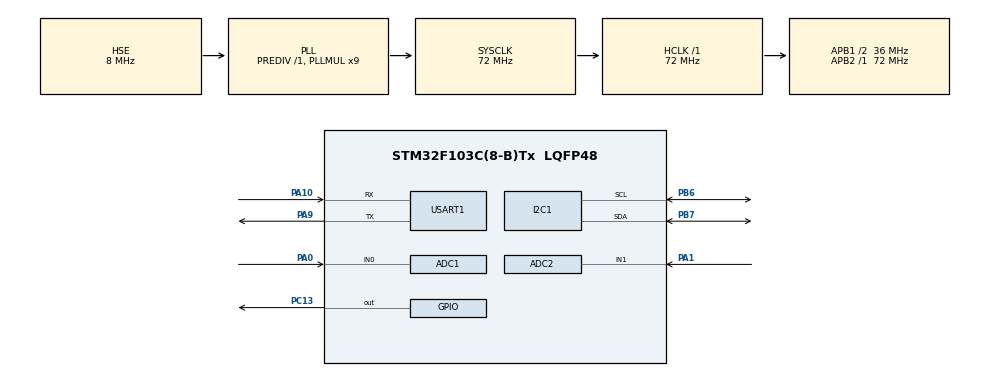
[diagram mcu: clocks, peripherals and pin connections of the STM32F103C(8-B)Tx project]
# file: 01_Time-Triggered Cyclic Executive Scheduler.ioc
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ADC1.Channel-0\#ChannelRegularConversion=ADC_CHANNEL_0
ADC1.NbrOfConversionFlag=1
ADC1.Rank-0\#ChannelRegularConversion=1
ADC1.SamplingTime-0\#ChannelRegularConversion=ADC_SAMPLETIME_1CYCLE_5
ADC1.master=1
ADC2.Channel-1\#ChannelRegularConversion=ADC_CHANNEL_1
ADC2.NbrOfConversionFlag=1
ADC2.Rank-1\#ChannelRegularConversion=1
ADC2.SamplingTime-1\#ChannelRegularConversion=ADC_SAMPLETIME_1CYCLE_5
Mcu.Family=STM32F1
Mcu.Name=STM32F103C(8-B)Tx
Mcu.Package=LQFP48
NVIC.PriorityGroup=NVIC_PRIORITYGROUP_4
NVIC.TIM1_UP_IRQn=true\:0\:0\:false\:false\:true\:true\:true\:true
NVIC.USART1_IRQn=true\:0\:0\:false\:false\:true\:true\:true\:true
PA0-WKUP.Signal=ADCx_IN0
PA1.Signal=ADCx_IN1
PA10.Mode=Asynchronous
PA10.Signal=USART1_RX
PA13.Mode=Serial_Wire
PA13.Signal=SYS_JTMS-SWDIO
PA14.Mode=Serial_Wire
PA14.Signal=SYS_JTCK-SWCLK
PA9.Mode=Asynchronous
PA9.Signal=USART1_TX
PB6.Mode=I2C
PB6.Signal=I2C1_SCL
PB7.Mode=I2C
PB7.Signal=I2C1_SDA
PC13-TAMPER-RTC.Signal=GPIO_Output
PD0-OSC_IN.Mode=HSE-External-Oscillator
PD0-OSC_IN.Signal=RCC_OSC_IN
PD1-OSC_OUT.Mode=HSE-External-Oscillator
PD1-OSC_OUT.Signal=RCC_OSC_OUT
ProjectManager.HeapSize=0x200
ProjectManager.StackSize=0x400
ProjectManager.TargetToolchain=STM32CubeIDE
RCC.ADCPresc=RCC_ADCPCLK2_DIV6
RCC.AHBFreq_Value=72000000
RCC.APB1CLKDivider=RCC_HCLK_DIV2
RCC.APB1Freq_Value=36000000
RCC.APB1TimFreq_Value=72000000
RCC.APB2Freq_Value=72000000
RCC.APB2TimFreq_Value=72000000
RCC.HCLKFreq_Value=72000000
RCC.PLLMUL=RCC_PLL_MUL9
RCC.PLLSourceVirtual=RCC_PLLSOURCE_HSE
RCC.SYSCLKFreq_VALUE=72000000
RCC.SYSCLKSource=RCC_SYSCLKSOURCE_PLLCLK
RCC.USBFreq_Value=72000000
SH.ADCx_IN0.0=ADC1_IN0,IN0
SH.ADCx_IN1.0=ADC2_IN1,IN1
TIM1.Period=4999
TIM1.Prescaler=7199
USART1.VirtualMode=VM_ASYNC
VP_TIM1_VS_ClockSourceINT.Mode=Internal
board=custom

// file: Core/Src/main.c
/* USER CODE BEGIN Header */
/**
  ******************************************************************************
  * @file           : main.c
  * @brief          : Main program body
  ******************************************************************************
  * @attention
  *
  * Copyright (c) 2026 STMicroelectronics.
  * All rights reserved.
  *
  * This software is licensed under terms that can be found in the LICENSE file
  * in the root directory of this software component.
  * If no LICENSE file comes with this software, it is provided AS-IS.
  *
  ******************************************************************************
  */
/* USER CODE END Header */
#include "main.h"

/* USER CODE BEGIN Includes */
#include "stdio.h"
#include "math.h"
#include "CLCD_I2C.h"
/* USER CODE END Includes */

/* USER CODE BEGIN PTD */
float humidity;
float temperature;

volatile uint8_t frame = 0;
volatile uint8_t scheduler_flag = 0;
/* USER CODE END PTD */

ADC_HandleTypeDef hadc1;
ADC_HandleTypeDef hadc2;

I2C_HandleTypeDef hi2c1;

TIM_HandleTypeDef htim1;

UART_HandleTypeDef huart1;

/* USER CODE BEGIN PV */
CLCD_I2C_Name LCD1;
/* USER CODE END PV */

void SystemClock_Config(void);
static void MX_GPIO_Init(void);
static void MX_ADC1_Init(void);
static void MX_I2C1_Init(void);
static void MX_USART1_UART_Init(void);
static void MX_TIM1_Init(void);
static void MX_ADC2_Init(void);

/* USER CODE BEGIN 0 */
int __io_putchar(int ch)
{
    HAL_UART_Transmit(&huart1, (uint8_t *)&ch, 1, 2);
    return ch;
}

void HAL_TIM_PeriodElapsedCallback(TIM_HandleTypeDef *htim)
{
    if (htim->Instance == TIM1) //500ms
    {
    	frame = (frame + 1) % 10;
    	scheduler_flag = 1;
    }
}

void Read_Humidity() //T1 = 5 D1 = 4 C1 = 0.01
{
	HAL_ADC_Start(&hadc1);
	HAL_ADC_PollForConversion(&hadc1, 1);
	uint16_t adc_in0 = HAL_ADC_GetValue(&hadc1);
	HAL_ADC_Stop(&hadc1);

	float Vout = (adc_in0 * 3.3f) / 4095.0f;
	humidity = (Vout - 0.4f) / 0.031f;
}

void Read_Temperature() //T2 = 5 D2 = 4 D2 = 0.01
{
	HAL_ADC_Start(&hadc2);
	HAL_ADC_PollForConversion(&hadc2, 1);
	uint16_t adc_in1 = HAL_ADC_GetValue(&hadc2);
	HAL_ADC_Stop(&hadc2);

	float Vout = (adc_in1 * 3.3f) / 4095.0f;
	        float R_pulldown = 10000.0f; // 10k Ohm
	        float R_ntc = R_pulldown * ((5.3f / Vout) - 1.0f);
	        float B = 3435.0f;
	        float R0 = 10000.0f;
	        float T0 = 298.15f;
	        float inv_T = (1.0f / T0) + (1.0f / B) * log(R_ntc / R0);
	        temperature = (1.0f / inv_T) - 273.15f - 12.0f; // Chuyển từ Kelvin sang độ C

}

void Send_Uart() //T3 = 5 D3 = 4 C3 = 0.1
{
	printf("Humidity: %.1f %%\r\n", humidity);
	printf("Temperature: %.1f C\r\n", temperature);
}

void Display_LCD() //T4 = 1 D4 = 0.5 C4 = 0.3
{
	CLCD_I2C_SetCursor(&LCD1, 0, 0);
	CLCD_I2C_WriteString(&LCD1, "Hum: ");
	CLCD_I2C_WriteNumber(&LCD1, humidity, 1);
	CLCD_I2C_WriteString(&LCD1, " %");

	CLCD_I2C_SetCursor(&LCD1, 0, 1);
	CLCD_I2C_WriteString(&LCD1, "Tempe: ");
	CLCD_I2C_WriteNumber(&LCD1, temperature, 1);
	CLCD_I2C_WriteString(&LCD1, " C");
}

void Scheduler_Dispatch(void)
{
    if(!scheduler_flag) return;
    scheduler_flag = 0;

    switch(frame)
    {
        case 0:
            Display_LCD();
            break;

        case 1:
        	Read_Humidity();
        	Read_Temperature();
			Send_Uart();
            break;

        case 2:
            Display_LCD();
            break;

        case 3:
            // idle
            break;

        case 4:
            Display_LCD();
            break;

        case 5:
            // idle
            break;

        case 6:
            Display_LCD();
            break;

        case 7:
            // idle
            break;

        case 8:
            Display_LCD();
            break;

        case 9:
            // idle
            break;
    }
}
/* USER CODE END 0 */

int main(void)
{

  /* MCU Configuration--------------------------------------------------------*/

  /* Reset of all peripherals, Initializes the Flash interface and the Systick. */
  HAL_Init();

  /* Configure the system clock */
  SystemClock_Config();

  /* Initialize all configured peripherals */
  MX_GPIO_Init();
  MX_ADC1_Init();
  MX_I2C1_Init();
  MX_USART1_UART_Init();
  MX_TIM1_Init();
  MX_ADC2_Init();
  /* USER CODE BEGIN 2 */
  HAL_TIM_Base_Start_IT(&htim1);
  CLCD_I2C_Init(&LCD1, &hi2c1, 0x4e, 16, 2);
  /* USER CODE END 2 */

  /* Infinite loop */
  /* USER CODE BEGIN WHILE */
  while (1)
  {
	  Scheduler_Dispatch();
    /* USER CODE END WHILE */

  }
}

void SystemClock_Config(void)
{
  RCC_OscInitTypeDef RCC_OscInitStruct = {0};
  RCC_ClkInitTypeDef RCC_ClkInitStruct = {0};
  RCC_PeriphCLKInitTypeDef PeriphClkInit = {0};

  /** Initializes the RCC Oscillators according to the specified parameters
  * in the RCC_OscInitTypeDef structure.
  */
  RCC_OscInitStruct.OscillatorType = RCC_OSCILLATORTYPE_HSE;
  RCC_OscInitStruct.HSEState = RCC_HSE_ON;
  RCC_OscInitStruct.HSEPredivValue = RCC_HSE_PREDIV_DIV1;
  RCC_OscInitStruct.HSIState = RCC_HSI_ON;
  RCC_OscInitStruct.PLL.PLLState = RCC_PLL_ON;
  RCC_OscInitStruct.PLL.PLLSource = RCC_PLLSOURCE_HSE;
  RCC_OscInitStruct.PLL.PLLMUL = RCC_PLL_MUL9;
  if (HAL_RCC_OscConfig(&RCC_OscInitStruct) != HAL_OK)
  {
    Error_Handler();
  }

  /** Initializes the CPU, AHB and APB buses clocks
  */
  RCC_ClkInitStruct.ClockType = RCC_CLOCKTYPE_HCLK|RCC_CLOCKTYPE_SYSCLK
                              |RCC_CLOCKTYPE_PCLK1|RCC_CLOCKTYPE_PCLK2;
  RCC_ClkInitStruct.SYSCLKSource = RCC_SYSCLKSOURCE_PLLCLK;
  RCC_ClkInitStruct.AHBCLKDivider = RCC_SYSCLK_DIV1;
  RCC_ClkInitStruct.APB1CLKDivider = RCC_HCLK_DIV2;
  RCC_ClkInitStruct.APB2CLKDivider = RCC_HCLK_DIV1;

  if (HAL_RCC_ClockConfig(&RCC_ClkInitStruct, FLASH_LATENCY_2) != HAL_OK)
  {
    Error_Handler();
  }
  PeriphClkInit.PeriphClockSelection = RCC_PERIPHCLK_ADC;
  PeriphClkInit.AdcClockSelection = RCC_ADCPCLK2_DIV6;
  if (HAL_RCCEx_PeriphCLKConfig(&PeriphClkInit) != HAL_OK)
  {
    Error_Handler();
  }
}

static void MX_ADC1_Init(void)
{

  ADC_ChannelConfTypeDef sConfig = {0};

  /** Common config
  */
  hadc1.Instance = ADC1;
  hadc1.Init.ScanConvMode = ADC_SCAN_DISABLE;
  hadc1.Init.ContinuousConvMode = DISABLE;
  hadc1.Init.DiscontinuousConvMode = DISABLE;
  hadc1.Init.ExternalTrigConv = ADC_SOFTWARE_START;
  hadc1.Init.DataAlign = ADC_DATAALIGN_RIGHT;
  hadc1.Init.NbrOfConversion = 1;
  if (HAL_ADC_Init(&hadc1) != HAL_OK)
  {
    Error_Handler();
  }

  /** Configure Regular Channel
  */
  sConfig.Channel = ADC_CHANNEL_0;
  sConfig.Rank = ADC_REGULAR_RANK_1;
  sConfig.SamplingTime = ADC_SAMPLETIME_1CYCLE_5;
  if (HAL_ADC_ConfigChannel(&hadc1, &sConfig) != HAL_OK)
  {
    Error_Handler();
  }

}

static void MX_ADC2_Init(void)
{

  ADC_ChannelConfTypeDef sConfig = {0};

  /** Common config
  */
  hadc2.Instance = ADC2;
  hadc2.Init.ScanConvMode = ADC_SCAN_DISABLE;
  hadc2.Init.ContinuousConvMode = DISABLE;
  hadc2.Init.DiscontinuousConvMode = DISABLE;
  hadc2.Init.ExternalTrigConv = ADC_SOFTWARE_START;
  hadc2.Init.DataAlign = ADC_DATAALIGN_RIGHT;
  hadc2.Init.NbrOfConversion = 1;
  if (HAL_ADC_Init(&hadc2) != HAL_OK)
  {
    Error_Handler();
  }

  /** Configure Regular Channel
  */
  sConfig.Channel = ADC_CHANNEL_1;
  sConfig.Rank = ADC_REGULAR_RANK_1;
  sConfig.SamplingTime = ADC_SAMPLETIME_1CYCLE_5;
  if (HAL_ADC_ConfigChannel(&hadc2, &sConfig) != HAL_OK)
  {
    Error_Handler();
  }

}

static void MX_I2C1_Init(void)
{

  hi2c1.Instance = I2C1;
  hi2c1.Init.ClockSpeed = 100000;
  hi2c1.Init.DutyCycle = I2C_DUTYCYCLE_2;
  hi2c1.Init.OwnAddress1 = 0;
  hi2c1.Init.AddressingMode = I2C_ADDRESSINGMODE_7BIT;
  hi2c1.Init.DualAddressMode = I2C_DUALADDRESS_DISABLE;
  hi2c1.Init.OwnAddress2 = 0;
  hi2c1.Init.GeneralCallMode = I2C_GENERALCALL_DISABLE;
  hi2c1.Init.NoStretchMode = I2C_NOSTRETCH_DISABLE;
  if (HAL_I2C_Init(&hi2c1) != HAL_OK)
  {
    Error_Handler();
  }

}

static void MX_TIM1_Init(void)
{

  TIM_ClockConfigTypeDef sClockSourceConfig = {0};
  TIM_MasterConfigTypeDef sMasterConfig = {0};

  htim1.Instance = TIM1;
  htim1.Init.Prescaler = 7199;
  htim1.Init.CounterMode = TIM_COUNTERMODE_UP;
  htim1.Init.Period = 4999;
  htim1.Init.ClockDivision = TIM_CLOCKDIVISION_DIV1;
  htim1.Init.RepetitionCounter = 0;
  htim1.Init.AutoReloadPreload = TIM_AUTORELOAD_PRELOAD_DISABLE;
  if (HAL_TIM_Base_Init(&htim1) != HAL_OK)
  {
    Error_Handler();
  }
  sClockSourceConfig.ClockSource = TIM_CLOCKSOURCE_INTERNAL;
  if (HAL_TIM_ConfigClockSource(&htim1, &sClockSourceConfig) != HAL_OK)
  {
    Error_Handler();
  }
  sMasterConfig.MasterOutputTrigger = TIM_TRGO_RESET;
  sMasterConfig.MasterSlaveMode = TIM_MASTERSLAVEMODE_DISABLE;
  if (HAL_TIMEx_MasterConfigSynchronization(&htim1, &sMasterConfig) != HAL_OK)
  {
    Error_Handler();
  }

}

static void MX_USART1_UART_Init(void)
{

  huart1.Instance = USART1;
  huart1.Init.BaudRate = 115200;
  huart1.Init.WordLength = UART_WORDLENGTH_8B;
  huart1.Init.StopBits = UART_STOPBITS_1;
  huart1.Init.Parity = UART_PARITY_NONE;
  huart1.Init.Mode = UART_MODE_TX_RX;
  huart1.Init.HwFlowCtl = UART_HWCONTROL_NONE;
  huart1.Init.OverSampling = UART_OVERSAMPLING_16;
  if (HAL_UART_Init(&huart1) != HAL_OK)
  {
    Error_Handler();
  }

}

static void MX_GPIO_Init(void)
{
  GPIO_InitTypeDef GPIO_InitStruct = {0};

  /* GPIO Ports Clock Enable */
  __HAL_RCC_GPIOC_CLK_ENABLE();
  __HAL_RCC_GPIOD_CLK_ENABLE();
  __HAL_RCC_GPIOA_CLK_ENABLE();
  __HAL_RCC_GPIOB_CLK_ENABLE();

  /*Configure GPIO pin Output Level */
  HAL_GPIO_WritePin(GPIOC, GPIO_PIN_13, GPIO_PIN_RESET);

  /*Configure GPIO pin : PC13 */
  GPIO_InitStruct.Pin = GPIO_PIN_13;
  GPIO_InitStruct.Mode = GPIO_MODE_OUTPUT_PP;
  GPIO_InitStruct.Pull = GPIO_NOPULL;
  GPIO_InitStruct.Speed = GPIO_SPEED_FREQ_LOW;
  HAL_GPIO_Init(GPIOC, &GPIO_InitStruct);

}

void Error_Handler(void)
{
  __disable_irq();
  while (1)
  {
  }
}
